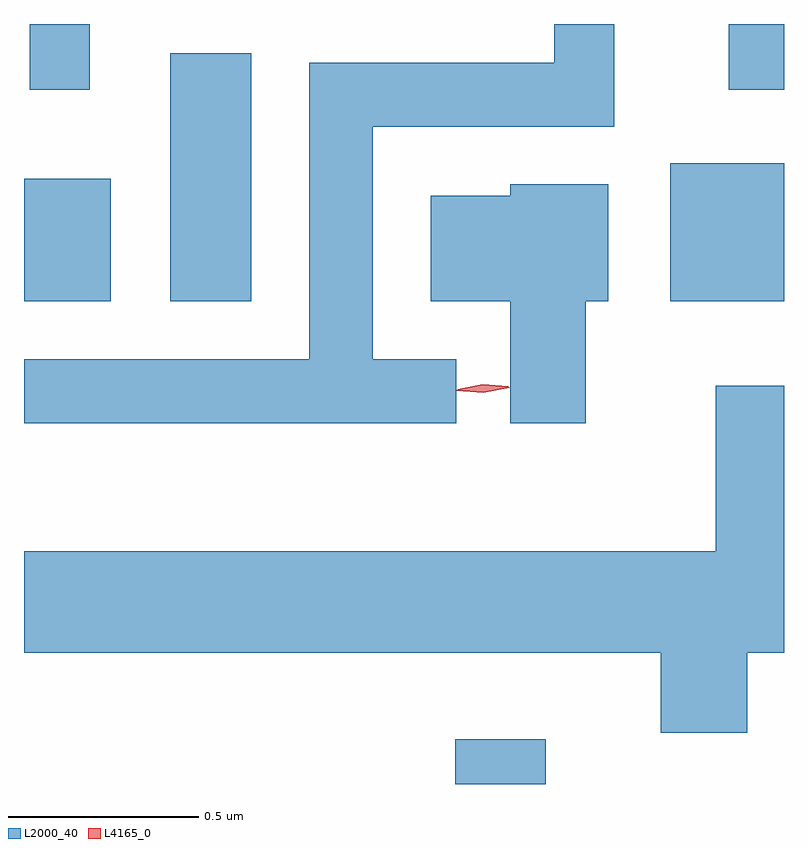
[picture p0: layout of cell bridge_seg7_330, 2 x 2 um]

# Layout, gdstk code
import gdstk
lib = gdstk.Library(unit=1e-6, precision=1e-09)
def R(c, l, rs):  # rectangles x0, y0, x1, y1
    for r in rs: c.add(gdstk.rectangle(r[:2], r[2:], *l))
def P(c, l, *ps):  # polygons
    for p in ps: c.add(gdstk.Polygon(p, *l))
L2000_40 = (2000, 40)
L4165_0 = (4165, 0)

bridge_seg7_330 = lib.new_cell('bridge_seg7_330')
R(bridge_seg7_330, L2000_40, [(1226.136,1773.911,1226.374,1774.029), (1225.001,1775.181,1225.229,1775.504), (1225.386,1775.181,1225.599,1775.834), (1226.701,1775.181,1227.001,1775.544), (1225.016,1775.738,1225.174,1775.911), (1226.856,1775.738,1227.001,1775.911)])
P(bridge_seg7_330, L2000_40, [(1226.138,1775.029),(1225.919,1775.029),(1225.919,1775.641),(1226.554,1775.641),(1226.554,1775.911),(1226.396,1775.911),(1226.396,1775.809),(1225.751,1775.809),(1225.751,1775.029),(1225.001,1775.029),(1225.001,1774.861),(1226.138,1774.861)],
  [(1226.479,1775.181),(1226.539,1775.181),(1226.539,1775.489),(1226.281,1775.489),(1226.281,1775.459),(1226.071,1775.459),(1226.071,1775.181),(1226.281,1775.181),(1226.281,1774.861),(1226.479,1774.861)],
  [(1226.904,1774.256),(1227.001,1774.256),(1227.001,1774.959),(1226.821,1774.959),(1226.821,1774.524),(1225.001,1774.524),(1225.001,1774.256),(1226.676,1774.256),(1226.676,1774.046),(1226.904,1774.046)])
P(bridge_seg7_330, L4165_0, [(1226.209,1774.941),(1226.14,1774.946),(1226.139,1774.947),(1226.14,1774.947),(1226.208,1774.961),(1226.278,1774.955),(1226.278,1774.955),(1226.278,1774.954)],
  [(1226.209,1774.944),(1226.143,1774.949),(1226.142,1774.95),(1226.143,1774.95),(1226.208,1774.963),(1226.275,1774.958),(1226.275,1774.957),(1226.275,1774.957)])

lib.write_gds('bridge_seg7_330.gds')
